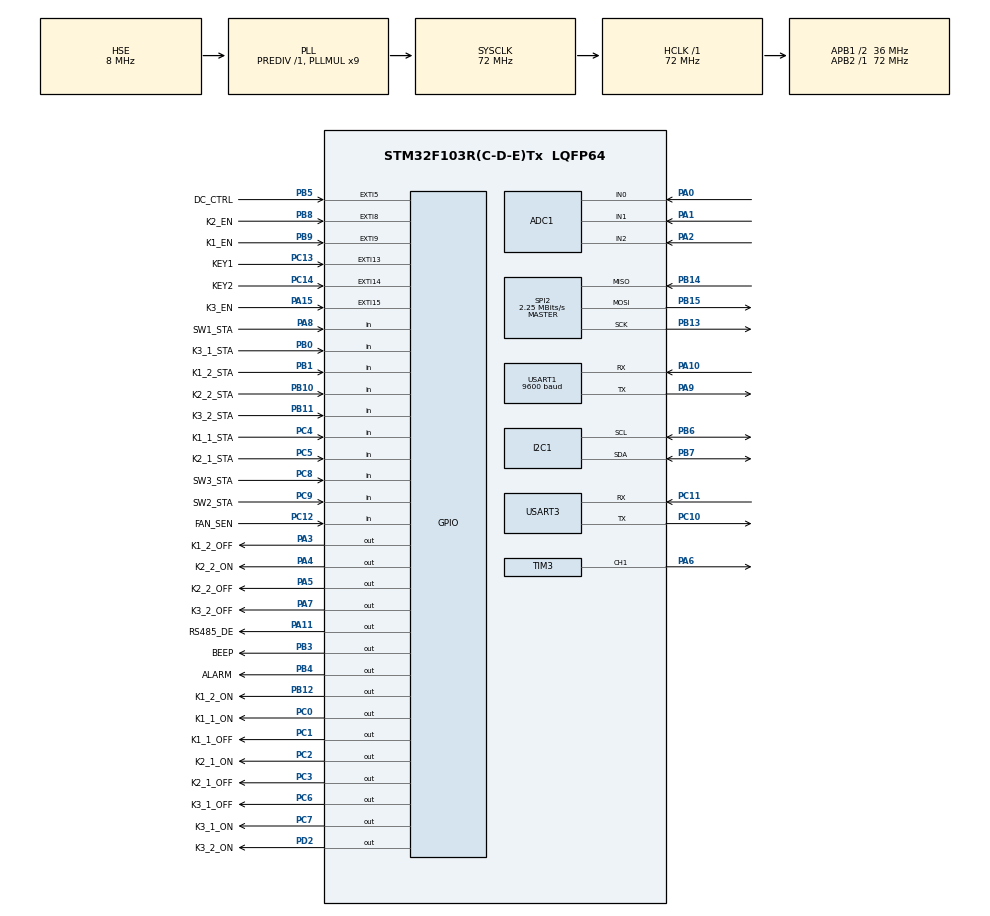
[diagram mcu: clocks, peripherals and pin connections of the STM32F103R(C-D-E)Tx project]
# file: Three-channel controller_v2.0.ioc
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ADC1.Channel-0\#ChannelRegularConversion=ADC_CHANNEL_0
ADC1.Channel-1\#ChannelRegularConversion=ADC_CHANNEL_1
ADC1.Channel-2\#ChannelRegularConversion=ADC_CHANNEL_2
ADC1.ContinuousConvMode=DISABLE
ADC1.NbrOfConversion=3
ADC1.NbrOfConversionFlag=1
ADC1.Rank-0\#ChannelRegularConversion=1
ADC1.Rank-1\#ChannelRegularConversion=2
ADC1.Rank-2\#ChannelRegularConversion=3
ADC1.SamplingTime-0\#ChannelRegularConversion=ADC_SAMPLETIME_55CYCLES_5
ADC1.SamplingTime-1\#ChannelRegularConversion=ADC_SAMPLETIME_55CYCLES_5
ADC1.SamplingTime-2\#ChannelRegularConversion=ADC_SAMPLETIME_55CYCLES_5
ADC1.master=1
Dma.ADC1.0.Direction=DMA_PERIPH_TO_MEMORY
Dma.ADC1.0.Instance=DMA1_Channel1
Dma.ADC1.0.MemDataAlignment=DMA_MDATAALIGN_HALFWORD
Dma.ADC1.0.MemInc=DMA_MINC_ENABLE
Dma.ADC1.0.Mode=DMA_NORMAL
Dma.ADC1.0.PeriphDataAlignment=DMA_PDATAALIGN_HALFWORD
Dma.ADC1.0.PeriphInc=DMA_PINC_DISABLE
Dma.ADC1.0.Priority=DMA_PRIORITY_LOW
Dma.Request0=ADC1
IWDG.Prescaler=IWDG_PRESCALER_64
IWDG.Reload=1250
Mcu.Family=STM32F1
Mcu.Name=STM32F103R(C-D-E)Tx
Mcu.Package=LQFP64
NVIC.ADC1_2_IRQn=true\:5\:0\:true\:false\:true\:true\:true\:true
NVIC.DMA1_Channel1_IRQn=true\:5\:0\:true\:false\:true\:true\:true\:true
NVIC.EXTI15_10_IRQn=true\:4\:0\:true\:false\:true\:true\:true\:true
NVIC.EXTI9_5_IRQn=true\:4\:0\:true\:false\:true\:true\:true\:true
NVIC.I2C1_ER_IRQn=true\:5\:0\:true\:false\:true\:true\:true\:true
NVIC.I2C1_EV_IRQn=true\:5\:0\:true\:false\:true\:true\:true\:true
NVIC.PVD_IRQn=true\:4\:0\:true\:false\:true\:true\:true\:true
NVIC.PriorityGroup=NVIC_PRIORITYGROUP_4
NVIC.SPI2_IRQn=true\:0\:0\:false\:false\:true\:true\:true\:true
NVIC.TIM3_IRQn=true\:0\:0\:false\:false\:true\:true\:true\:true
NVIC.USART1_IRQn=true\:1\:0\:true\:false\:true\:true\:true\:true
NVIC.USART3_IRQn=true\:1\:0\:true\:false\:true\:true\:true\:true
PA0-WKUP.Signal=ADCx_IN0
PA1.Signal=ADCx_IN1
PA10.Mode=Asynchronous
PA10.Signal=USART1_RX
PA11.GPIO_Label=RS485_DE
PA11.GPIO_PuPd=GPIO_PULLDOWN
PA11.GPIO_Speed=GPIO_SPEED_FREQ_HIGH
PA11.PinState=GPIO_PIN_RESET
PA11.Signal=GPIO_Output
PA13.Mode=Serial_Wire
PA13.Signal=SYS_JTMS-SWDIO
PA14.Mode=Serial_Wire
PA14.Signal=SYS_JTCK-SWCLK
PA15.GPIO_Label=K3_EN
PA15.GPIO_ModeDefaultEXTI=GPIO_MODE_IT_RISING_FALLING
PA15.GPIO_PuPd=GPIO_PULLUP
PA15.Signal=GPXTI15
PA2.Signal=ADCx_IN2
PA3.GPIO_Label=K1_2_OFF
PA3.GPIO_PuPd=GPIO_PULLUP
PA3.GPIO_Speed=GPIO_SPEED_FREQ_HIGH
PA3.PinState=GPIO_PIN_SET
PA3.Signal=GPIO_Output
PA4.GPIO_Label=K2_2_ON
PA4.GPIO_PuPd=GPIO_PULLUP
PA4.GPIO_Speed=GPIO_SPEED_FREQ_HIGH
PA4.PinState=GPIO_PIN_SET
PA4.Signal=GPIO_Output
PA5.GPIO_Label=K2_2_OFF
PA5.GPIO_PuPd=GPIO_PULLUP
PA5.GPIO_Speed=GPIO_SPEED_FREQ_HIGH
PA5.PinState=GPIO_PIN_SET
PA5.Signal=GPIO_Output
PA6.Signal=S_TIM3_CH1
PA7.GPIO_Label=K3_2_OFF
PA7.GPIO_PuPd=GPIO_PULLUP
PA7.GPIO_Speed=GPIO_SPEED_FREQ_HIGH
PA7.PinState=GPIO_PIN_SET
PA7.Signal=GPIO_Output
PA8.GPIO_Label=SW1_STA
PA8.GPIO_PuPd=GPIO_PULLDOWN
PA8.Signal=GPIO_Input
PA9.Mode=Asynchronous
PA9.Signal=USART1_TX
PB0.GPIO_Label=K3_1_STA
PB0.GPIO_PuPd=GPIO_PULLDOWN
PB0.Signal=GPIO_Input
PB1.GPIO_Label=K1_2_STA
PB1.GPIO_PuPd=GPIO_PULLDOWN
PB1.Signal=GPIO_Input
PB10.GPIO_Label=K2_2_STA
PB10.GPIO_PuPd=GPIO_PULLDOWN
PB10.Signal=GPIO_Input
PB11.GPIO_Label=K3_2_STA
PB11.GPIO_PuPd=GPIO_PULLDOWN
PB11.Signal=GPIO_Input
PB12.GPIO_Label=K1_2_ON
PB12.GPIO_PuPd=GPIO_PULLUP
PB12.GPIO_Speed=GPIO_SPEED_FREQ_HIGH
PB12.PinState=GPIO_PIN_SET
PB12.Signal=GPIO_Output
PB13.Mode=Full_Duplex_Master
PB13.Signal=SPI2_SCK
PB14.Mode=Full_Duplex_Master
PB14.Signal=SPI2_MISO
PB15.Mode=Full_Duplex_Master
PB15.Signal=SPI2_MOSI
PB3.GPIO_Label=BEEP
PB3.GPIO_PuPd=GPIO_PULLDOWN
PB3.GPIO_Speed=GPIO_SPEED_FREQ_HIGH
PB3.Signal=GPIO_Output
PB4.GPIO_Label=ALARM
PB4.GPIO_PuPd=GPIO_PULLUP
PB4.GPIO_Speed=GPIO_SPEED_FREQ_HIGH
PB4.PinState=GPIO_PIN_SET
PB4.Signal=GPIO_Output
PB5.GPIO_Label=DC_CTRL
PB5.GPIO_ModeDefaultEXTI=GPIO_MODE_IT_RISING
PB5.GPIO_PuPd=GPIO_PULLUP
PB5.Signal=GPXTI5
PB6.Mode=I2C
PB6.Signal=I2C1_SCL
PB7.Mode=I2C
PB7.Signal=I2C1_SDA
PB8.GPIO_Label=K2_EN
PB8.GPIO_ModeDefaultEXTI=GPIO_MODE_IT_RISING_FALLING
PB8.GPIO_PuPd=GPIO_PULLUP
PB8.Signal=GPXTI8
PB9.GPIO_Label=K1_EN
PB9.GPIO_ModeDefaultEXTI=GPIO_MODE_IT_RISING_FALLING
PB9.GPIO_PuPd=GPIO_PULLUP
PB9.Signal=GPXTI9
PC0.GPIO_Label=K1_1_ON
PC0.GPIO_PuPd=GPIO_PULLUP
PC0.GPIO_Speed=GPIO_SPEED_FREQ_HIGH
PC0.PinState=GPIO_PIN_SET
PC0.Signal=GPIO_Output
PC1.GPIO_Label=K1_1_OFF
PC1.GPIO_PuPd=GPIO_PULLUP
PC1.GPIO_Speed=GPIO_SPEED_FREQ_HIGH
PC1.PinState=GPIO_PIN_SET
PC1.Signal=GPIO_Output
PC10.Mode=Asynchronous
PC10.Signal=USART3_TX
PC11.Mode=Asynchronous
PC11.Signal=USART3_RX
PC12.GPIO_Label=FAN_SEN
PC12.GPIO_PuPd=GPIO_PULLUP
PC12.Signal=GPIO_Input
PC13-TAMPER-RTC.GPIO_Label=KEY1
PC13-TAMPER-RTC.GPIO_ModeDefaultEXTI=GPIO_MODE_IT_FALLING
PC13-TAMPER-RTC.GPIO_PuPd=GPIO_PULLUP
PC13-TAMPER-RTC.Signal=GPXTI13
PC14-OSC32_IN.GPIO_Label=KEY2
PC14-OSC32_IN.GPIO_ModeDefaultEXTI=GPIO_MODE_IT_FALLING
PC14-OSC32_IN.GPIO_PuPd=GPIO_PULLUP
PC14-OSC32_IN.Signal=GPXTI14
PC2.GPIO_Label=K2_1_ON
PC2.GPIO_PuPd=GPIO_PULLUP
PC2.GPIO_Speed=GPIO_SPEED_FREQ_HIGH
PC2.PinState=GPIO_PIN_SET
PC2.Signal=GPIO_Output
PC3.GPIO_Label=K2_1_OFF
PC3.GPIO_PuPd=GPIO_PULLUP
PC3.GPIO_Speed=GPIO_SPEED_FREQ_HIGH
PC3.PinState=GPIO_PIN_SET
PC3.Signal=GPIO_Output
PC4.GPIO_Label=K1_1_STA
PC4.GPIO_PuPd=GPIO_PULLDOWN
PC4.Signal=GPIO_Input
PC5.GPIO_Label=K2_1_STA
PC5.GPIO_PuPd=GPIO_PULLDOWN
PC5.Signal=GPIO_Input
PC6.GPIO_Label=K3_1_OFF
PC6.GPIO_PuPd=GPIO_PULLUP
PC6.GPIO_Speed=GPIO_SPEED_FREQ_HIGH
PC6.PinState=GPIO_PIN_SET
PC6.Signal=GPIO_Output
PC7.GPIO_Label=K3_1_ON
PC7.GPIO_PuPd=GPIO_PULLUP
PC7.GPIO_Speed=GPIO_SPEED_FREQ_HIGH
PC7.PinState=GPIO_PIN_SET
PC7.Signal=GPIO_Output
PC8.GPIO_Label=SW3_STA
PC8.GPIO_PuPd=GPIO_PULLDOWN
PC8.Signal=GPIO_Input
PC9.GPIO_Label=SW2_STA
PC9.GPIO_PuPd=GPIO_PULLDOWN
PC9.Signal=GPIO_Input
PD0-OSC_IN.Mode=HSE-External-Oscillator
PD0-OSC_IN.Signal=RCC_OSC_IN
PD1-OSC_OUT.Mode=HSE-External-Oscillator
PD1-OSC_OUT.Signal=RCC_OSC_OUT
PD2.GPIO_Label=K3_2_ON
PD2.GPIO_PuPd=GPIO_PULLUP
PD2.GPIO_Speed=GPIO_SPEED_FREQ_HIGH
PD2.PinState=GPIO_PIN_SET
PD2.Signal=GPIO_Output
ProjectManager.HeapSize=0x200
ProjectManager.StackSize=0x400
ProjectManager.TargetToolchain=MDK-ARM V5.32
RCC.ADCPresc=RCC_ADCPCLK2_DIV6
RCC.AHBFreq_Value=72000000
RCC.APB1CLKDivider=RCC_HCLK_DIV2
RCC.APB1Freq_Value=36000000
RCC.APB1TimFreq_Value=72000000
RCC.APB2Freq_Value=72000000
RCC.APB2TimFreq_Value=72000000
RCC.HCLKFreq_Value=72000000
RCC.PLLMUL=RCC_PLL_MUL9
RCC.PLLSourceVirtual=RCC_PLLSOURCE_HSE
RCC.SYSCLKFreq_VALUE=72000000
RCC.SYSCLKSource=RCC_SYSCLKSOURCE_PLLCLK
RCC.USBFreq_Value=72000000
SH.ADCx_IN0.0=ADC1_IN0,IN0
SH.ADCx_IN1.0=ADC1_IN1,IN1
SH.ADCx_IN2.0=ADC1_IN2,IN2
SH.S_TIM3_CH1.0=TIM3_CH1,PWM Generation1 CH1
SPI2.BaudRatePrescaler=SPI_BAUDRATEPRESCALER_16
SPI2.CalculateBaudRate=2.25 MBits/s
SPI2.Direction=SPI_DIRECTION_2LINES
SPI2.Mode=SPI_MODE_MASTER
SPI2.VirtualType=VM_MASTER
TIM3.AutoReloadPreload=TIM_AUTORELOAD_PRELOAD_ENABLE
TIM3.Channel-PWM\ Generation1\ CH1=TIM_CHANNEL_1
TIM3.Period=99
TIM3.Prescaler=35
TIM3.Pulse-PWM\ Generation1\ CH1=50
USART1.BaudRate=9600
USART1.VirtualMode=VM_ASYNC
USART3.VirtualMode=VM_ASYNC
VP_IWDG_VS_IWDG.Mode=IWDG_Activate
VP_TIM3_VS_ClockSourceINT.Mode=Internal
board=custom

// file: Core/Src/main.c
/* USER CODE BEGIN Header */
/**
  ******************************************************************************
  * @file           : main.c
  * @brief          : Main program body
  ******************************************************************************
  * @attention
  *
  * Copyright (c) 2025 STMicroelectronics.
  * All rights reserved.
  *
  * This software is licensed under terms that can be found in the LICENSE file
  * in the root directory of this software component.
  * If no LICENSE file comes with this software, it is provided AS-IS.
  *
  ******************************************************************************
  */
/* USER CODE END Header */
#include "main.h"
#include "adc.h"
#include "dma.h"
#include "i2c.h"
#include "iwdg.h"
#include "spi.h"
#include "tim.h"
#include "usart.h"
#include "gpio.h"
#include "debug.h"

/* USER CODE BEGIN Includes */
#include "iwdg.h"
#include "relay_control.h"
/* USER CODE END Includes */

void SystemClock_Config(void);
/* USER CODE BEGIN PFP */
void Relay_Control_FullTest(void);
void Relay_Control_InterruptTest(void);
/* USER CODE END PFP */

int main(void)
{

  /* MCU Configuration--------------------------------------------------------*/

  /* Reset of all peripherals, Initializes the Flash interface and the Systick. */
  HAL_Init();

  /* Configure the system clock */
  SystemClock_Config();

  /* Initialize all configured peripherals */
  MX_GPIO_Init();
  MX_DMA_Init();
  MX_ADC1_Init();
  MX_I2C1_Init();
  MX_IWDG_Init();
  MX_SPI2_Init();
  MX_TIM3_Init();
  MX_USART1_UART_Init();
  MX_USART3_UART_Init();

  /* USER CODE BEGIN 2 */

  // 首先初始化调试系统（必须在USART3初始化之后）
  Debug_Init();

  // 输出系统启动信息
  Debug_Printf(DEBUG_LEVEL_INFO, "=== 系统启动 ===");
  Debug_Printf(DEBUG_LEVEL_INFO, "STM32F103RCT6 三通道高压切换箱控制系统");
  Debug_Printf(DEBUG_LEVEL_INFO, "版本: v2.0");
  Debug_Printf(DEBUG_LEVEL_INFO, "编译时间: %s %s", __DATE__, __TIME__);

  // 初始化GPIO功能模块 - 第二阶段第二步新增
  Debug_Printf(DEBUG_LEVEL_INFO, "=== 初始化GPIO功能模块 ===");

  // 1. 继电器系统初始化
  GPIO_RelayInitialize();

  // 2. 中断系统初始化
  GPIO_InterruptInit();

  // 3. 状态监控系统初始化
  GPIO_StateMonitorInit();

  // 4. 初始化继电器控制模块
  if (Relay_Control_Init() != HAL_OK) {
    Debug_Printf(DEBUG_LEVEL_ERROR, "继电器控制模块初始化失败");
    Error_Handler();
  }

  // 5. 执行继电器控制系统自检
  if (Relay_Control_SelfCheck() != HAL_OK) {
    Debug_Printf(DEBUG_LEVEL_ERROR, "继电器控制系统自检失败");
  }

  Debug_Printf(DEBUG_LEVEL_INFO, "继电器控制系统初始化完成");

  /* USER CODE END 2 */

  /* Infinite loop */
  /* USER CODE BEGIN WHILE */

  uint32_t last_debug_time = 0;
  uint32_t last_state_update_time = 0;
  uint32_t loop_count = 0;

  Debug_Printf(DEBUG_LEVEL_INFO, "进入主循环，开始继电器控制系统运行");

  // 添加测试标志
  uint8_t relay_test_completed = 0;
  uint8_t full_test_completed = 0;
  uint8_t interrupt_test_completed = 0;

  while (1)
  {
    /* USER CODE END WHILE */

    /* USER CODE BEGIN 3 */

    uint32_t current_time = HAL_GetTick();

    // 每100ms更新一次状态监控
    if(current_time - last_state_update_time >= 100)
    {
        // 更新GPIO状态监控
        GPIO_StateMonitorUpdate();

        // 检查GPIO状态异常
        if(GPIO_StateAnomalyCheck())
        {
            Debug_Printf(DEBUG_LEVEL_WARN, "检测到GPIO状态异常");
        }

        // 处理继电器控制任务
        Relay_Control_ProcessTasks();

        last_state_update_time = current_time;
    }

    // 启动后10秒进行基础继电器测试（只执行一次）
    if(!relay_test_completed && current_time >= 10000)
    {
        Debug_Printf(DEBUG_LEVEL_INFO, "=== 开始基础继电器测试 ===");

        // 使用新的继电器控制模块进行基础测试
        Relay_Control_TestAll();

        Debug_Printf(DEBUG_LEVEL_INFO, "=== 基础继电器测试完成 ===");
        relay_test_completed = 1;
    }

    // 启动后30秒进行完整功能测试（只执行一次）
    if(!full_test_completed && current_time >= 30000)
    {
        Debug_Printf(DEBUG_LEVEL_INFO, "\n? 开始执行完整功能测试...");

        // 执行完整的继电器控制模块测试
        Relay_Control_FullTest();

        Debug_Printf(DEBUG_LEVEL_INFO, "\n? 完整功能测试执行完成");
        full_test_completed = 1;
    }

    // 启动后60秒进行中断模拟测试（只执行一次）
    if(!interrupt_test_completed && current_time >= 60000)
    {
        Debug_Printf(DEBUG_LEVEL_INFO, "\n? 开始执行中断模拟测试...");
        Debug_Printf(DEBUG_LEVEL_INFO, "当前时间: %lu ms, 准备进入中断测试函数", current_time);
        HAL_IWDG_Refresh(&hiwdg);  // 测试开始前喂狗

        // 强制刷新输出缓冲区
        HAL_Delay(100);
        HAL_IWDG_Refresh(&hiwdg);

        Debug_Printf(DEBUG_LEVEL_INFO, "即将调用 Relay_Control_InterruptTest() 函数...");
        HAL_IWDG_Refresh(&hiwdg);

        // 执行中断处理模拟测试
        Relay_Control_InterruptTest();

        HAL_IWDG_Refresh(&hiwdg);  // 测试完成后喂狗
        Debug_Printf(DEBUG_LEVEL_INFO, "\n? 中断模拟测试执行完成");
        interrupt_test_completed = 1;

        // 所有测试完成后输出总结
        HAL_IWDG_Refresh(&hiwdg);  // 总结开始前喂狗
        Debug_Printf(DEBUG_LEVEL_INFO, "\n"
                    "????????????????????\n"
                    "?          继电器控制模块测试总结          ?\n"
                    "????????????????????");

        Debug_Printf(DEBUG_LEVEL_INFO, "? 基础继电器测试: 完成");
        Debug_Printf(DEBUG_LEVEL_INFO, "? 完整功能测试: 完成");
        Debug_Printf(DEBUG_LEVEL_INFO, "? 中断模拟测试: 完成");
        Debug_Printf(DEBUG_LEVEL_INFO, "");
        HAL_IWDG_Refresh(&hiwdg);  // 输出中间喂狗
        Debug_Printf(DEBUG_LEVEL_INFO, "? 测试覆盖范围:");
        Debug_Printf(DEBUG_LEVEL_INFO, "  ? 系统初始化和自检");
        Debug_Printf(DEBUG_LEVEL_INFO, "  ? 继电器开启/关闭控制");
        Debug_Printf(DEBUG_LEVEL_INFO, "  ? 状态检查和验证");
        Debug_Printf(DEBUG_LEVEL_INFO, "  ? 异常处理系统");
        Debug_Printf(DEBUG_LEVEL_INFO, "  ? 稳定性检查机制");
        Debug_Printf(DEBUG_LEVEL_INFO, "  ? 通道互锁保护");
        Debug_Printf(DEBUG_LEVEL_INFO, "  ? 任务管理系统");
        Debug_Printf(DEBUG_LEVEL_INFO, "  ? 中断处理逻辑");
        Debug_Printf(DEBUG_LEVEL_INFO, "");
        HAL_IWDG_Refresh(&hiwdg);  // 输出中间喂狗
        Debug_Printf(DEBUG_LEVEL_INFO, "?? 安全特性验证:");
        Debug_Printf(DEBUG_LEVEL_INFO, "  ? 50ms间隔3次检测机制");
        Debug_Printf(DEBUG_LEVEL_INFO, "  ? 500ms脉冲控制");
        Debug_Printf(DEBUG_LEVEL_INFO, "  ? 看门狗兼容性");
        Debug_Printf(DEBUG_LEVEL_INFO, "  ? 多重安全保护");
        Debug_Printf(DEBUG_LEVEL_INFO, "");
        Debug_Printf(DEBUG_LEVEL_INFO, "? 第三阶段第一步开发验证: 成功完成!");
        Debug_Printf(DEBUG_LEVEL_INFO, "? 继电器控制模块已准备就绪，可进入下一阶段开发");
        HAL_IWDG_Refresh(&hiwdg);  // 总结结束前喂狗
        Debug_Printf(DEBUG_LEVEL_INFO,
                    "????????????????????");
    }

    // 每5秒输出一次状态信息
    if(current_time - last_debug_time >= 5000)
    {
        loop_count++;
        Debug_Printf(DEBUG_LEVEL_INFO, "主循环计数: %lu", loop_count);

        // 每10次输出详细状态（即每50秒）
        if(loop_count % 10 == 0)
        {
            Debug_Printf(DEBUG_LEVEL_INFO, "=== 详细状态报告 ===");

            // 输出测试进度
            Debug_Printf(DEBUG_LEVEL_INFO, "测试进度: 基础测试=%s, 完整测试=%s, 中断测试=%s",
                        relay_test_completed ? "?完成" : "?待执行",
                        full_test_completed ? "?完成" : "?待执行",
                        interrupt_test_completed ? "?完成" : "?待执行");

            // 输出继电器控制系统状态
            Relay_Control_PrintSystemStatus();

            // 输出异常状态
            Relay_Control_PrintAlarmStatus();

            // 输出GPIO状态
            GPIO_StatePrint();

            // 输出中断状态
            uint8_t channel_flags = GPIO_GetInterruptStatus(INTERRUPT_TYPE_CHANNEL_ENABLE);
            uint8_t dc_flag = GPIO_GetInterruptStatus(INTERRUPT_TYPE_DC_CTRL);
            uint8_t key_flags = GPIO_GetInterruptStatus(INTERRUPT_TYPE_KEY);

            Debug_Printf(DEBUG_LEVEL_INFO, "中断状态: 通道=0x%02X, DC=0x%02X, 按键=0x%02X",
                        channel_flags, dc_flag, key_flags);

            // 清除中断状态标志
            GPIO_ClearInterruptStatus(INTERRUPT_TYPE_CHANNEL_ENABLE);
            GPIO_ClearInterruptStatus(INTERRUPT_TYPE_DC_CTRL);
            GPIO_ClearInterruptStatus(INTERRUPT_TYPE_KEY);
        }

        last_debug_time = current_time;
    }

    // 喂狗操作，防止看门狗复位
    HAL_IWDG_Refresh(&hiwdg);

    // 短暂延时
    HAL_Delay(10);
  }
  /* USER CODE END 3 */
}

void SystemClock_Config(void)
{
  RCC_OscInitTypeDef RCC_OscInitStruct = {0};
  RCC_ClkInitTypeDef RCC_ClkInitStruct = {0};
  RCC_PeriphCLKInitTypeDef PeriphClkInit = {0};

  /** Initializes the RCC Oscillators according to the specified parameters
  * in the RCC_OscInitTypeDef structure.
  */
  RCC_OscInitStruct.OscillatorType = RCC_OSCILLATORTYPE_LSI|RCC_OSCILLATORTYPE_HSE;
  RCC_OscInitStruct.HSEState = RCC_HSE_ON;
  RCC_OscInitStruct.HSEPredivValue = RCC_HSE_PREDIV_DIV1;
  RCC_OscInitStruct.HSIState = RCC_HSI_ON;
  RCC_OscInitStruct.LSIState = RCC_LSI_ON;
  RCC_OscInitStruct.PLL.PLLState = RCC_PLL_ON;
  RCC_OscInitStruct.PLL.PLLSource = RCC_PLLSOURCE_HSE;
  RCC_OscInitStruct.PLL.PLLMUL = RCC_PLL_MUL9;
  if (HAL_RCC_OscConfig(&RCC_OscInitStruct) != HAL_OK)
  {
    Error_Handler();
  }

  /** Initializes the CPU, AHB and APB buses clocks
  */
  RCC_ClkInitStruct.ClockType = RCC_CLOCKTYPE_HCLK|RCC_CLOCKTYPE_SYSCLK
                              |RCC_CLOCKTYPE_PCLK1|RCC_CLOCKTYPE_PCLK2;
  RCC_ClkInitStruct.SYSCLKSource = RCC_SYSCLKSOURCE_PLLCLK;
  RCC_ClkInitStruct.AHBCLKDivider = RCC_SYSCLK_DIV1;
  RCC_ClkInitStruct.APB1CLKDivider = RCC_HCLK_DIV2;
  RCC_ClkInitStruct.APB2CLKDivider = RCC_HCLK_DIV1;

  if (HAL_RCC_ClockConfig(&RCC_ClkInitStruct, FLASH_LATENCY_2) != HAL_OK)
  {
    Error_Handler();
  }
  PeriphClkInit.PeriphClockSelection = RCC_PERIPHCLK_ADC;
  PeriphClkInit.AdcClockSelection = RCC_ADCPCLK2_DIV6;
  if (HAL_RCCEx_PeriphCLKConfig(&PeriphClkInit) != HAL_OK)
  {
    Error_Handler();
  }
}

/* USER CODE BEGIN 4 */

/**
 * @brief  继电器控制模块完整测试程序
 * @retval None
 */
void Relay_Control_FullTest(void)
{
    Debug_Printf(DEBUG_LEVEL_INFO, "========================================");
    Debug_Printf(DEBUG_LEVEL_INFO, "=== 继电器控制模块完整测试开始 ===");
    Debug_Printf(DEBUG_LEVEL_INFO, "========================================");

    // 测试1：系统状态检查
    Debug_Printf(DEBUG_LEVEL_INFO, "\n--- 测试1：系统状态检查 ---");
    HAL_IWDG_Refresh(&hiwdg);  // 测试开始前喂狗
    Relay_Control_PrintSystemStatus();
    HAL_IWDG_Refresh(&hiwdg);  // 状态输出后喂狗
    Relay_Control_PrintAlarmStatus();

    HAL_Delay(1000);
    HAL_IWDG_Refresh(&hiwdg);

    // 测试2：初始状态验证
    Debug_Printf(DEBUG_LEVEL_INFO, "\n--- 测试2：初始状态验证 ---");
    HAL_IWDG_Refresh(&hiwdg);  // 测试前喂狗
    if (Relay_Control_CheckInitialState()) {
        Debug_Printf(DEBUG_LEVEL_INFO, "? 初始状态检查通过");
    } else {
        Debug_Printf(DEBUG_LEVEL_ERROR, "? 初始状态检查失败");
    }

    HAL_Delay(1000);
    HAL_IWDG_Refresh(&hiwdg);

    // 测试3：单通道详细测试
    Debug_Printf(DEBUG_LEVEL_INFO, "\n--- 测试3：单通道详细测试 ---");
    for (int i = 0; i < 3; i++) {
        Debug_Printf(DEBUG_LEVEL_INFO, "\n>> 测试通道%d <<", i + 1);

        // 显示测试前状态
        Debug_Printf(DEBUG_LEVEL_INFO, "测试前状态:");
        HAL_IWDG_Refresh(&hiwdg);  // 状态输出前喂狗
        Relay_Control_PrintChannelStatus((Channel_TypeDef)i);

        // 测试通道开启
        Debug_Printf(DEBUG_LEVEL_INFO, "执行通道%d开启测试...", i + 1);
        HAL_IWDG_Refresh(&hiwdg);  // 开启测试前喂狗
        HAL_StatusTypeDef result = Relay_Control_ExecuteChannelOpen((Channel_TypeDef)i);
        HAL_IWDG_Refresh(&hiwdg);  // 开启测试后喂狗

        if (result == HAL_OK) {
            Debug_Printf(DEBUG_LEVEL_INFO, "? 通道%d开启测试通过", i + 1);
        } else {
            Debug_Printf(DEBUG_LEVEL_ERROR, "? 通道%d开启测试失败", i + 1);
        }

        // 显示测试后状态
        Debug_Printf(DEBUG_LEVEL_INFO, "开启后状态:");
        HAL_IWDG_Refresh(&hiwdg);  // 状态输出前喂狗
        Relay_Control_PrintChannelStatus((Channel_TypeDef)i);

        HAL_Delay(2000);  // 等待2秒观察状态
        HAL_IWDG_Refresh(&hiwdg);

        // 测试通道关闭
        Debug_Printf(DEBUG_LEVEL_INFO, "执行通道%d关闭测试...", i + 1);
        HAL_IWDG_Refresh(&hiwdg);  // 关闭测试前喂狗
        result = Relay_Control_ExecuteChannelClose((Channel_TypeDef)i);
        HAL_IWDG_Refresh(&hiwdg);  // 关闭测试后喂狗

        if (result == HAL_OK) {
            Debug_Printf(DEBUG_LEVEL_INFO, "? 通道%d关闭测试通过", i + 1);
        } else {
            Debug_Printf(DEBUG_LEVEL_ERROR, "? 通道%d关闭测试失败", i + 1);
        }

        // 显示最终状态
        Debug_Printf(DEBUG_LEVEL_INFO, "关闭后状态:");
        HAL_IWDG_Refresh(&hiwdg);  // 状态输出前喂狗
        Relay_Control_PrintChannelStatus((Channel_TypeDef)i);

        HAL_Delay(1000);  // 通道间间隔
        HAL_IWDG_Refresh(&hiwdg);
    }

    // 测试4：异常处理测试
    Debug_Printf(DEBUG_LEVEL_INFO, "\n--- 测试4：异常处理测试 ---");

    // 测试异常标志设置和清除
    Debug_Printf(DEBUG_LEVEL_INFO, "测试异常标志管理...");
    Relay_Control_SetAlarmFlag(ALARM_FLAG_A);
    if (Relay_Control_IsAlarmActive(ALARM_FLAG_A)) {
        Debug_Printf(DEBUG_LEVEL_INFO, "? 异常标志A设置成功");
    } else {
        Debug_Printf(DEBUG_LEVEL_ERROR, "? 异常标志A设置失败");
    }

    Relay_Control_PrintAlarmStatus();

    Relay_Control_ClearAlarmFlag(ALARM_FLAG_A);
    if (!Relay_Control_IsAlarmActive(ALARM_FLAG_A)) {
        Debug_Printf(DEBUG_LEVEL_INFO, "? 异常标志A清除成功");
    } else {
        Debug_Printf(DEBUG_LEVEL_ERROR, "? 异常标志A清除失败");
    }

    HAL_Delay(1000);
    HAL_IWDG_Refresh(&hiwdg);

    // 测试5：稳定性检查测试
    Debug_Printf(DEBUG_LEVEL_INFO, "\n--- 测试5：稳定性检查测试 ---");
    HAL_IWDG_Refresh(&hiwdg);  // 测试开始前喂狗
    for (int i = 0; i < 3; i++) {
        uint8_t current_state = GPIO_ReadChannelEnable((Channel_TypeDef)i);
        Debug_Printf(DEBUG_LEVEL_INFO, "通道%d当前使能状态: %d", i + 1, current_state);

        HAL_IWDG_Refresh(&hiwdg);  // 稳定性检查前喂狗
        if (Relay_Control_CheckChannelEnableStable((Channel_TypeDef)i, current_state)) {
            Debug_Printf(DEBUG_LEVEL_INFO, "? 通道%d稳定性检查通过", i + 1);
        } else {
            Debug_Printf(DEBUG_LEVEL_WARN, "?? 通道%d稳定性检查失败", i + 1);
        }
        HAL_IWDG_Refresh(&hiwdg);  // 每个通道检查后喂狗
    }

    HAL_Delay(1000);
    HAL_IWDG_Refresh(&hiwdg);

    // 测试6：通道互锁检查测试
    Debug_Printf(DEBUG_LEVEL_INFO, "\n--- 测试6：通道互锁检查测试 ---");
    HAL_IWDG_Refresh(&hiwdg);  // 测试开始前喂狗
    for (int i = 0; i < 3; i++) {
        HAL_IWDG_Refresh(&hiwdg);  // 每个通道检查前喂狗
        if (Relay_Control_CheckOtherChannelsIdle((Channel_TypeDef)i)) {
            Debug_Printf(DEBUG_LEVEL_INFO, "? 通道%d互锁检查通过", i + 1);
        } else {
            Debug_Printf(DEBUG_LEVEL_WARN, "?? 通道%d互锁检查发现冲突", i + 1);
        }
    }

    HAL_Delay(1000);
    HAL_IWDG_Refresh(&hiwdg);

    // 测试7：状态反馈检查测试
    Debug_Printf(DEBUG_LEVEL_INFO, "\n--- 测试7：状态反馈检查测试 ---");
    HAL_IWDG_Refresh(&hiwdg);  // 测试开始前喂狗
    for (int i = 0; i < 3; i++) {
        HAL_IWDG_Refresh(&hiwdg);  // 每个通道检查前喂狗
        if (Relay_Control_CheckOtherChannelsStatus((Channel_TypeDef)i)) {
            Debug_Printf(DEBUG_LEVEL_INFO, "? 通道%d状态反馈检查通过", i + 1);
        } else {
            Debug_Printf(DEBUG_LEVEL_WARN, "?? 通道%d状态反馈检查发现异常", i + 1);
        }
    }

    HAL_Delay(1000);
    HAL_IWDG_Refresh(&hiwdg);

    // 测试8：任务管理测试
    Debug_Printf(DEBUG_LEVEL_INFO, "\n--- 测试8：任务管理测试 ---");

    // 创建测试任务
    Debug_Printf(DEBUG_LEVEL_INFO, "创建通道1开启任务...");
    if (Relay_Control_CreateTask(CHANNEL_1, RELAY_CTRL_ACTION_OPEN) == HAL_OK) {
        Debug_Printf(DEBUG_LEVEL_INFO, "? 任务创建成功");

        if (Relay_Control_IsTaskActive(CHANNEL_1)) {
            Debug_Printf(DEBUG_LEVEL_INFO, "? 任务状态检查正确");
        } else {
            Debug_Printf(DEBUG_LEVEL_ERROR, "? 任务状态检查错误");
        }

        // 处理任务
        Debug_Printf(DEBUG_LEVEL_INFO, "处理任务...");
        HAL_IWDG_Refresh(&hiwdg);  // 任务处理前喂狗
        Relay_Control_ProcessTasks();
        HAL_IWDG_Refresh(&hiwdg);  // 任务处理后喂狗

    } else {
        Debug_Printf(DEBUG_LEVEL_ERROR, "? 任务创建失败");
    }

    HAL_Delay(1000);
    HAL_IWDG_Refresh(&hiwdg);

    // 测试9：系统自检测试
    Debug_Printf(DEBUG_LEVEL_INFO, "\n--- 测试9：系统自检测试 ---");
    HAL_IWDG_Refresh(&hiwdg);  // 自检前喂狗
    if (Relay_Control_SelfCheck() == HAL_OK) {
        Debug_Printf(DEBUG_LEVEL_INFO, "? 系统自检通过");
    } else {
        Debug_Printf(DEBUG_LEVEL_ERROR, "? 系统自检失败");
    }
    HAL_IWDG_Refresh(&hiwdg);  // 自检后喂狗

    HAL_Delay(1000);
    HAL_IWDG_Refresh(&hiwdg);

    // 测试10：最终状态检查
    Debug_Printf(DEBUG_LEVEL_INFO, "\n--- 测试10：最终状态检查 ---");
    Debug_Printf(DEBUG_LEVEL_INFO, "最终系统状态:");
    HAL_IWDG_Refresh(&hiwdg);  // 状态输出前喂狗
    Relay_Control_PrintSystemStatus();
    HAL_IWDG_Refresh(&hiwdg);  // 状态输出后喂狗
    Relay_Control_PrintAlarmStatus();
    HAL_IWDG_Refresh(&hiwdg);  // 最终喂狗

    Debug_Printf(DEBUG_LEVEL_INFO, "========================================");
    Debug_Printf(DEBUG_LEVEL_INFO, "=== 继电器控制模块完整测试完成 ===");
    Debug_Printf(DEBUG_LEVEL_INFO, "========================================");
}

/**
 * @brief  中断模拟测试程序
 * @retval None
 */
void Relay_Control_InterruptTest(void)
{
    Debug_Printf(DEBUG_LEVEL_INFO, "\n??? 正在进入中断测试函数 ???");
    HAL_IWDG_Refresh(&hiwdg);  // 函数入口喂狗

    Debug_Printf(DEBUG_LEVEL_INFO, "\n========================================");
    Debug_Printf(DEBUG_LEVEL_INFO, "=== 中断处理模拟测试开始 ===");
    Debug_Printf(DEBUG_LEVEL_INFO, "========================================");

    HAL_IWDG_Refresh(&hiwdg);  // 标题输出后喂狗

    // 模拟K1_EN下降沿中断（开启通道1）
    Debug_Printf(DEBUG_LEVEL_INFO, "\n--- 模拟K1_EN下降沿中断 ---");
    Debug_Printf(DEBUG_LEVEL_INFO, "模拟通道1使能信号下降沿...");
    Debug_Printf(DEBUG_LEVEL_INFO, "注意：这是模拟测试，跳过GPIO稳定性检查");
    HAL_IWDG_Refresh(&hiwdg);  // 中断处理前喂狗

    // 直接调用通道开启操作，跳过稳定性检查
    HAL_StatusTypeDef result = Relay_Control_ExecuteChannelOpen(CHANNEL_1);
    HAL_IWDG_Refresh(&hiwdg);  // 中断处理后喂狗

    if (result == HAL_OK) {
        Debug_Printf(DEBUG_LEVEL_INFO, "? 通道1开启模拟测试成功");
    } else {
        Debug_Printf(DEBUG_LEVEL_ERROR, "? 通道1开启模拟测试失败");
    }

    HAL_Delay(3000);  // 等待3秒观察状态
    HAL_IWDG_Refresh(&hiwdg);

    // 模拟K1_EN上升沿中断（关闭通道1）
    Debug_Printf(DEBUG_LEVEL_INFO, "\n--- 模拟K1_EN上升沿中断 ---");
    Debug_Printf(DEBUG_LEVEL_INFO, "模拟通道1使能信号上升沿...");
    Debug_Printf(DEBUG_LEVEL_INFO, "注意：这是模拟测试，跳过GPIO稳定性检查");
    HAL_IWDG_Refresh(&hiwdg);  // 中断处理前喂狗

    // 直接调用通道关闭操作，跳过稳定性检查
    result = Relay_Control_ExecuteChannelClose(CHANNEL_1);
    HAL_IWDG_Refresh(&hiwdg);  // 中断处理后喂狗

    if (result == HAL_OK) {
        Debug_Printf(DEBUG_LEVEL_INFO, "? 通道1关闭模拟测试成功");
    } else {
        Debug_Printf(DEBUG_LEVEL_ERROR, "? 通道1关闭模拟测试失败");
    }

    HAL_Delay(3000);  // 等待3秒观察状态
    HAL_IWDG_Refresh(&hiwdg);

    Debug_Printf(DEBUG_LEVEL_INFO, "========================================");
    Debug_Printf(DEBUG_LEVEL_INFO, "=== 中断处理模拟测试完成 ===");
    Debug_Printf(DEBUG_LEVEL_INFO, "========================================");
}

/* USER CODE END 4 */

void Error_Handler(void)
{
  /* USER CODE BEGIN Error_Handler_Debug */
  /* User can add his own implementation to report the HAL error return state */

  // 输出错误信息到调试串口
  Debug_Printf(DEBUG_LEVEL_ERROR, "系统发生严重错误，进入错误处理程序");
  Debug_Printf(DEBUG_LEVEL_ERROR, "系统将被挂起，请检查硬件连接和配置");

  __disable_irq();
  while (1)
  {
    // 在错误状态下闪烁报警LED（如果有的话）
    HAL_Delay(500);
  }
  /* USER CODE END Error_Handler_Debug */
}
